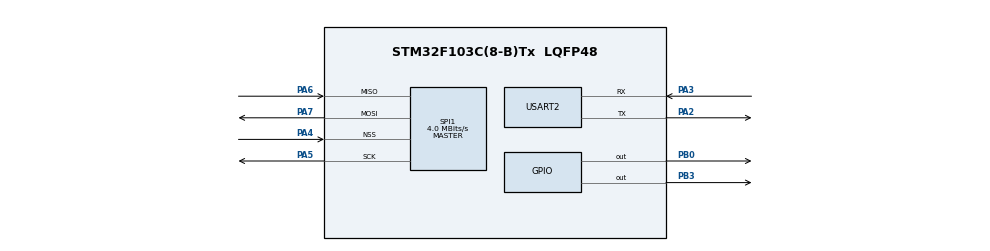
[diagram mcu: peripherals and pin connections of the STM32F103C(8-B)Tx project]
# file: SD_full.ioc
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Mcu.Family=STM32F1
PA6.Mode=Full_Duplex_Master
PA7.Mode=Full_Duplex_Master
PD1-OSC_OUT.Mode=HSE-External-Oscillator
SPI1.VirtualType=VM_MASTER
PD0-OSC_IN.Signal=RCC_OSC_IN
ProjectManager.StackSize=0x400
PD1-OSC_OUT.Signal=RCC_OSC_OUT
PA13.Signal=SYS_JTMS-SWDIO
PA3.Mode=Asynchronous
ProjectManager.TargetToolchain=SW4STM32
PA4.Mode=NSS_Signal_Hard_Input
SPI1.Direction=SPI_DIRECTION_2LINES
SPI1.CalculateBaudRate=4.0 MBits/s
PD0-OSC_IN.Mode=HSE-External-Oscillator
PA5.Signal=SPI1_SCK
board=custom
RCC.APB2Freq_Value=8000000
SPI1.Mode=SPI_MODE_MASTER
PA14.Mode=Serial_Wire
SPI1.VirtualNSS=VM_NSSHARD
PA13.Mode=Serial_Wire
Mcu.Name=STM32F103C(8-B)Tx
PA2.Signal=USART2_TX
PB3.Signal=GPIO_Output
PA4.Signal=SPI1_NSS
Mcu.Package=LQFP48
PA6.Signal=SPI1_MISO
USART2.VirtualMode=VM_ASYNC
PA14.Signal=SYS_JTCK-SWCLK
ProjectManager.HeapSize=0x200
NVIC.PriorityGroup=NVIC_PRIORITYGROUP_4
PA2.Mode=Asynchronous
RCC.APB1Freq_Value=8000000
PB0.Signal=GPIO_Output
PA3.Signal=USART2_RX
PA5.Mode=Full_Duplex_Master
PA7.Signal=SPI1_MOSI

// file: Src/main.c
/* USER CODE BEGIN Header */
/**
  ******************************************************************************
  * @file           : main.c
  * @brief          : Main program body
  ******************************************************************************
  * @attention
  *
  * <h2><center>&copy; Copyright (c) 2020 STMicroelectronics.
  * All rights reserved.</center></h2>
  *
  * This software component is licensed by ST under BSD 3-Clause license,
  * the "License"; You may not use this file except in compliance with the
  * License. You may obtain a copy of the License at:
  *                        opensource.org/licenses/BSD-3-Clause
  *
  ******************************************************************************
  */
/* USER CODE END Header */

#include "main.h"

/* USER CODE BEGIN Includes */
#include <stdio.h>
#include <string.h>
#include <stdlib.h>
#include "sd.h"
/* USER CODE END Includes */

/* USER CODE BEGIN PD */
#define RED_ON  HAL_GPIO_WritePin(GPIOB, GPIO_PIN_0, GPIO_PIN_RESET);
#define RED_OFF  HAL_GPIO_WritePin(GPIOB, GPIO_PIN_0, GPIO_PIN_SET);
#define GREEN_ON  HAL_GPIO_WritePin(GPIOB, GPIO_PIN_3, GPIO_PIN_RESET);
#define GREEN_OFF  HAL_GPIO_WritePin(GPIOB, GPIO_PIN_3, GPIO_PIN_SET);
#define DEFAULT_TIMEOUT  2000
#define RECV_TIMEOUT  20000
#define SEND_TIMEOUT  30
/* USER CODE END PD */

SPI_HandleTypeDef hspi1;

UART_HandleTypeDef huart2;

void SystemClock_Config(void);
static void MX_GPIO_Init(void);
static void MX_SPI1_Init(void);
static void MX_USART2_UART_Init(void);

int main(void)
{

  /* MCU Configuration--------------------------------------------------------*/

  /* Reset of all peripherals, Initializes the Flash interface and the Systick. */
  HAL_Init();

  /* Configure the system clock */
  SystemClock_Config();

  /* Initialize all configured peripherals */
  MX_GPIO_Init();
  MX_SPI1_Init();
  MX_USART2_UART_Init();
  sd_ini();

// vars
    uint16_t i;
    uint8_t str[] = "\nInput password\n";
    uint8_t wrong_pass[] = "\nWrong password\n";
    uint8_t right_pass[] = "\nRight password\n";
    uint8_t pass[] = "bauman\0";
    char* buff;
    uint8_t sect[512];
    char buffer1[512] ="Selection ... The...|| Hello from SD card\0"; //Буфер данных для записи/чтения
    buff = (char*) malloc(7);
  /* Infinite loop */
  /* USER CODE BEGIN WHILE */
  while (1)
  {
      HAL_GPIO_WritePin(GPIOB, GPIO_PIN_0|GPIO_PIN_3, GPIO_PIN_SET);
      HAL_Delay(1000);

      HAL_UART_Transmit(&huart2, str, strlen(str), SEND_TIMEOUT);
      HAL_UART_Receive(&huart2, buff, strlen(buff), RECV_TIMEOUT);
      HAL_UART_Transmit(&huart2, buff, strlen(buff), SEND_TIMEOUT);

      if (strcmp(pass, buff) == 0) {
          HAL_UART_Transmit(&huart2, right_pass, strlen(right_pass), SEND_TIMEOUT);
          GREEN_ON

          SD_Write_Block((uint8_t*)buffer1,0x0400); //Запишем блок в буфер
          SD_Read_Block(sect,0x0400);//Считаем блок из буфера

          for(i=0;i<512;i++) {
              HAL_UART_Transmit(&huart2, sect + i, 1, SEND_TIMEOUT);
          }

          HAL_UART_Transmit(&huart2,(uint8_t*)"success reading from sd card",28,SEND_TIMEOUT);
          HAL_Delay(2000);
          GREEN_OFF

      } else {
          HAL_UART_Transmit(&huart2, wrong_pass, strlen(wrong_pass), SEND_TIMEOUT);
          RED_ON
          HAL_Delay(DEFAULT_TIMEOUT);
          RED_OFF
      }

    /* USER CODE END WHILE */
  }
}

void SystemClock_Config(void)
{
  RCC_OscInitTypeDef RCC_OscInitStruct = {0};
  RCC_ClkInitTypeDef RCC_ClkInitStruct = {0};

  /** Initializes the CPU, AHB and APB busses clocks
  */
  RCC_OscInitStruct.OscillatorType = RCC_OSCILLATORTYPE_HSI;
  RCC_OscInitStruct.HSIState = RCC_HSI_ON;
  RCC_OscInitStruct.HSICalibrationValue = RCC_HSICALIBRATION_DEFAULT;
  RCC_OscInitStruct.PLL.PLLState = RCC_PLL_NONE;
  if (HAL_RCC_OscConfig(&RCC_OscInitStruct) != HAL_OK)
  {
    Error_Handler();
  }
  /** Initializes the CPU, AHB and APB busses clocks
  */
  RCC_ClkInitStruct.ClockType = RCC_CLOCKTYPE_HCLK|RCC_CLOCKTYPE_SYSCLK
                              |RCC_CLOCKTYPE_PCLK1|RCC_CLOCKTYPE_PCLK2;
  RCC_ClkInitStruct.SYSCLKSource = RCC_SYSCLKSOURCE_HSI;
  RCC_ClkInitStruct.AHBCLKDivider = RCC_SYSCLK_DIV1;
  RCC_ClkInitStruct.APB1CLKDivider = RCC_HCLK_DIV1;
  RCC_ClkInitStruct.APB2CLKDivider = RCC_HCLK_DIV1;

  if (HAL_RCC_ClockConfig(&RCC_ClkInitStruct, FLASH_LATENCY_0) != HAL_OK)
  {
    Error_Handler();
  }
}

static void MX_SPI1_Init(void)
{

  /* SPI1 parameter configuration*/
  hspi1.Instance = SPI1;
  hspi1.Init.Mode = SPI_MODE_MASTER;
  hspi1.Init.Direction = SPI_DIRECTION_2LINES;
  hspi1.Init.DataSize = SPI_DATASIZE_8BIT;
  hspi1.Init.CLKPolarity = SPI_POLARITY_LOW;
  hspi1.Init.CLKPhase = SPI_PHASE_1EDGE;
  hspi1.Init.NSS = SPI_NSS_HARD_INPUT;
  hspi1.Init.BaudRatePrescaler = SPI_BAUDRATEPRESCALER_2;
  hspi1.Init.FirstBit = SPI_FIRSTBIT_MSB;
  hspi1.Init.TIMode = SPI_TIMODE_DISABLE;
  hspi1.Init.CRCCalculation = SPI_CRCCALCULATION_DISABLE;
  hspi1.Init.CRCPolynomial = 10;
  if (HAL_SPI_Init(&hspi1) != HAL_OK)
  {
    Error_Handler();
  }

}

static void MX_USART2_UART_Init(void)
{

  huart2.Instance = USART2;
  huart2.Init.BaudRate = 115200;
  huart2.Init.WordLength = UART_WORDLENGTH_8B;
  huart2.Init.StopBits = UART_STOPBITS_1;
  huart2.Init.Parity = UART_PARITY_NONE;
  huart2.Init.Mode = UART_MODE_TX_RX;
  huart2.Init.HwFlowCtl = UART_HWCONTROL_NONE;
  huart2.Init.OverSampling = UART_OVERSAMPLING_16;
  if (HAL_UART_Init(&huart2) != HAL_OK)
  {
    Error_Handler();
  }

}

static void MX_GPIO_Init(void)
{
  GPIO_InitTypeDef GPIO_InitStruct = {0};

  /* GPIO Ports Clock Enable */
  __HAL_RCC_GPIOD_CLK_ENABLE();
  __HAL_RCC_GPIOA_CLK_ENABLE();
  __HAL_RCC_GPIOB_CLK_ENABLE();

  /*Configure GPIO pin Output Level */
  HAL_GPIO_WritePin(GPIOB, GPIO_PIN_0|GPIO_PIN_3, GPIO_PIN_RESET);

  /*Configure GPIO pins : PB0 PB3 */
  GPIO_InitStruct.Pin = GPIO_PIN_0|GPIO_PIN_3;
  GPIO_InitStruct.Mode = GPIO_MODE_OUTPUT_PP;
  GPIO_InitStruct.Pull = GPIO_NOPULL;
  GPIO_InitStruct.Speed = GPIO_SPEED_FREQ_LOW;
  HAL_GPIO_Init(GPIOB, &GPIO_InitStruct);

}

void Error_Handler(void)
{
}

/************************ (C) COPYRIGHT STMicroelectronics *****END OF FILE****/
